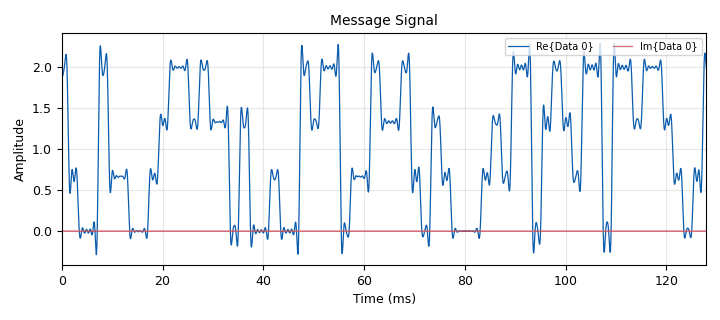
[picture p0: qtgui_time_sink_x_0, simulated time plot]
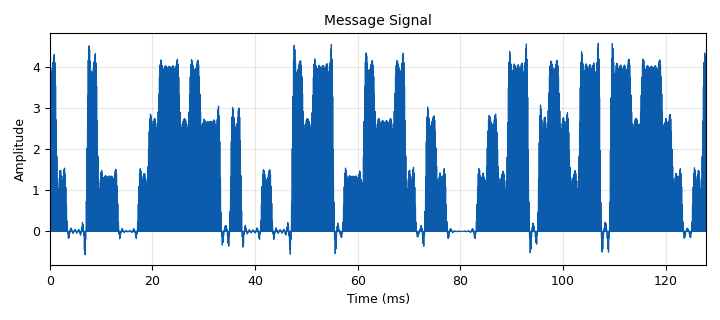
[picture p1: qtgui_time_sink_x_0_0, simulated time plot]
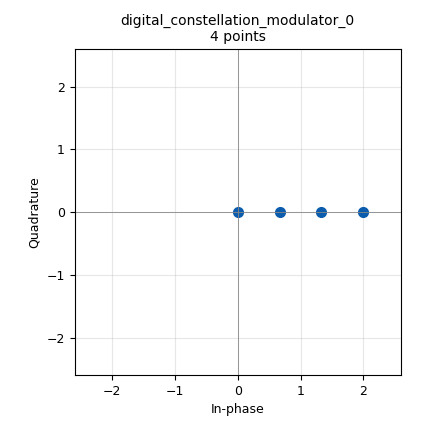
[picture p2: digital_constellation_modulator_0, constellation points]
options:
  parameters:
    author: caior
    generate_options: qt_gui
    id: AM_Implementation
    output_language: python
    title: Not titled yet
  states: {}

blocks:
- name: AM
  id: variable_constellation
  parameters:
    const_points: '[0,1,2,3]'
    dims: '1'
    normalization: digital.constellation.AMPLITUDE_NORMALIZATION
    precision: '8'
    rot_sym: '4'
    sym_map: '[0,1,2,3]'
    type: calcdist
  states: {}
- name: SPS
  id: variable
  parameters:
    value: '16'
  states: {}
- name: samp_rate
  id: variable
  parameters:
    value: '32000'
  states: {}
- name: analog_random_source_x_0
  id: analog_random_source_x
  parameters:
    max: '4'
    min: '0'
    num_samps: '1000'
    repeat: 'True'
    type: byte
  states: {}
- name: analog_sig_source_x_0
  id: analog_sig_source_x
  parameters:
    amp: '1'
    freq: 4*samp_rate//SPS
    offset: '0'
    phase: '0'
    samp_rate: samp_rate
    type: float
    waveform: analog.GR_COS_WAVE
  states: {}
- name: blocks_add_const_vxx_0
  id: blocks_add_const_vxx
  parameters:
    const: '1'
    type: float
  states: {}
- name: blocks_complex_to_float_0
  id: blocks_complex_to_float
  parameters: {}
  states: {}
- name: blocks_multiply_xx_0
  id: blocks_multiply_xx
  parameters:
    type: float
  states: {}
- name: blocks_throttle2_0
  id: blocks_throttle2
  parameters:
    samples_per_second: samp_rate
    type: complex
  states: {}
- name: digital_constellation_modulator_0
  id: digital_constellation_modulator
  parameters:
    constellation: AM
    differential: 'True'
    excess_bw: '0.35'
    samples_per_symbol: SPS
  states: {}
- name: qtgui_time_sink_x_0
  id: qtgui_time_sink_x
  parameters:
    autoscale: 'True'
    name: Message Signal
    size: int(1024*4)
    srate: samp_rate
    type: complex
  states: {}
- name: qtgui_time_sink_x_0_0
  id: qtgui_time_sink_x
  parameters:
    autoscale: 'True'
    name: Message Signal
    size: int(1024*4)
    srate: samp_rate
    type: float
  states: {}

connections:
- [analog_random_source_x_0, '0', digital_constellation_modulator_0, '0']
- [analog_sig_source_x_0, '0', blocks_add_const_vxx_0, '0']
- [blocks_add_const_vxx_0, '0', blocks_multiply_xx_0, '1']
- [blocks_complex_to_float_0, '0', blocks_multiply_xx_0, '0']
- [blocks_multiply_xx_0, '0', qtgui_time_sink_x_0_0, '0']
- [blocks_throttle2_0, '0', blocks_complex_to_float_0, '0']
- [blocks_throttle2_0, '0', qtgui_time_sink_x_0, '0']
- [digital_constellation_modulator_0, '0', blocks_throttle2_0, '0']

metadata:
  file_format: 1
  grc_version: 3.10.9.2
